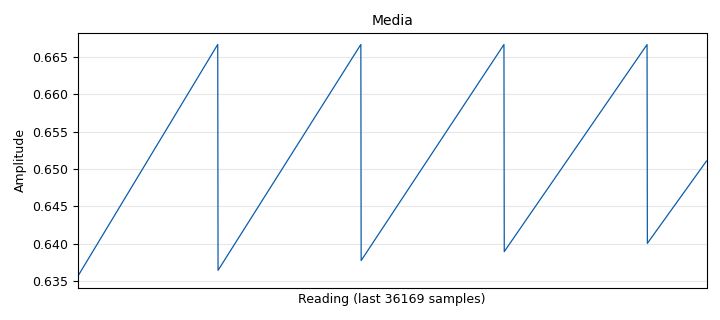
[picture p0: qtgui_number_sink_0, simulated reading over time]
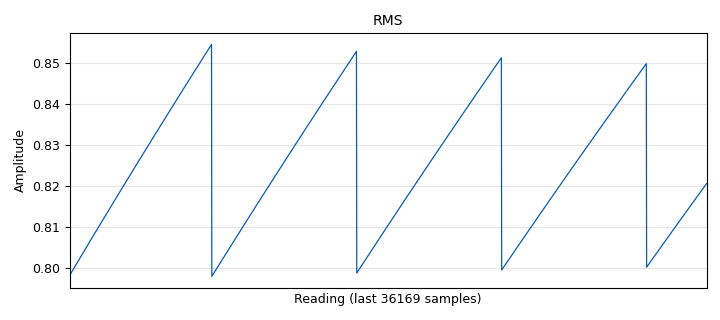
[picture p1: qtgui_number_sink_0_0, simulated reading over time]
options:
  parameters:
    generate_options: qt_gui
    id: Lab1
    output_language: python
    title: Lab1
  states: {}

blocks:
- name: samp_rate
  id: variable
  parameters:
    value: '32000'
  states: {}
- name: blocks_vector_source_x_0
  id: blocks_vector_source_x
  parameters:
    repeat: 'True'
    type: float
    vector: (1, 2,-1)
  states: {}
- name: epy_block_1
  id: epy_block
  parameters:
    _source_code: |
      """
      Embedded Python Blocks:

      Each time this file is saved, GRC will instantiate the first class it finds
      to get ports and parameters of your block. The arguments to __init__  will
      be the parameters. All of them are required to have default values!
      """

      import numpy as np
      from gnuradio import gr


      class blk(gr.sync_block):  # other base classes are basic_block, decim_block, interp_block
          """Embedded Python Block example - a simple multiply const"""

          def __init__(self):  # only default arguments here
              """arguments to this function show up as parameters in GRC"""
              gr.sync_block.__init__(
                  self,
                  name='Promedios_de_tiempos',   # will show up in GRC
                  in_sig=[np.float32],
                  out_sig=[np.float32,np.float32,np.float32,np.float32,np.float32]
              )
              # if an attribute with the same name as a parameter is found,
              # a callback is registered (properties work, too).
              self . acum_anterior = 0
              self . Ntotales = 0
              self . acum_anterior1 = 0
              self . acum_anterior2 = 0
          def work(self, input_items, output_items):
              """example: multiply with constant"""
              x = input_items [0] # Senial de entrada .
              y0 = output_items [0] # Promedio de la senial
              y1 = output_items [1] # Media de la senial
              y2 = output_items [2] # RMS de la senial
              y3 = output_items [3] # Potencia promedio de la senial
              y4 = output_items [4] # Desviacion estandar de la senial
              # Calculo del promedio
              N = len (x)
              self . Ntotales = self . Ntotales + N
              acumulado = self . acum_anterior + np. cumsum (x)
              self . acum_anterior = acumulado [N -1]
              y0 [:]= acumulado / self . Ntotales
              # Calculo de la media cuadratica
              x2=np. multiply (x,x)
              acumulado1 = self . acum_anterior1 + np. cumsum (x2)
              self . acum_anterior1 = acumulado [N -1]
              y1 [:] = acumulado1 / self . Ntotales
              # Calculo de la RMS
              y2 [:] = np. sqrt (y1)
              # Calculo de la potencia promedio
              y3 [:] = np. multiply (y2 ,y2)
              # Calculo de la desviacion estandar
              x3 = np. multiply (x-y0 ,x-y0)
              acumulado2 = self . acum_anterior2 + np. cumsum (x3)
              self . acum_anterior2 = acumulado2 [N -1]
              y4 [:] = np. sqrt ( acumulado2 / self . Ntotales )
              return len (x)
  states: {}
- name: qtgui_number_sink_0
  id: qtgui_number_sink
  parameters:
    graph_type: qtgui.NUM_GRAPH_HORIZ
    name: '"Media"'
    type: float
  states: {}
- name: qtgui_number_sink_0_0
  id: qtgui_number_sink
  parameters:
    graph_type: qtgui.NUM_GRAPH_HORIZ
    name: '"RMS"'
    type: float
  states: {}
- name: qtgui_number_sink_0_1
  id: qtgui_number_sink
  parameters:
    graph_type: qtgui.NUM_GRAPH_HORIZ
    name: '"Potencia Promedio"'
    type: float
  states: {}
- name: qtgui_number_sink_0_2
  id: qtgui_number_sink
  parameters:
    graph_type: qtgui.NUM_GRAPH_HORIZ
    name: '"Desviación Estandar"'
    type: float
  states: {}
- name: qtgui_number_sink_0_3
  id: qtgui_number_sink
  parameters:
    graph_type: qtgui.NUM_GRAPH_HORIZ
    name: '"Media Cuadratica"'
    type: float
  states: {}

connections:
- [blocks_vector_source_x_0, '0', epy_block_1, '0']
- [epy_block_1, '0', qtgui_number_sink_0, '0']
- [epy_block_1, '1', qtgui_number_sink_0_3, '0']
- [epy_block_1, '2', qtgui_number_sink_0_0, '0']
- [epy_block_1, '3', qtgui_number_sink_0_1, '0']
- [epy_block_1, '4', qtgui_number_sink_0_2, '0']

metadata:
  file_format: 1
  grc_version: v3.10.11.0-89-ga17f69e7
